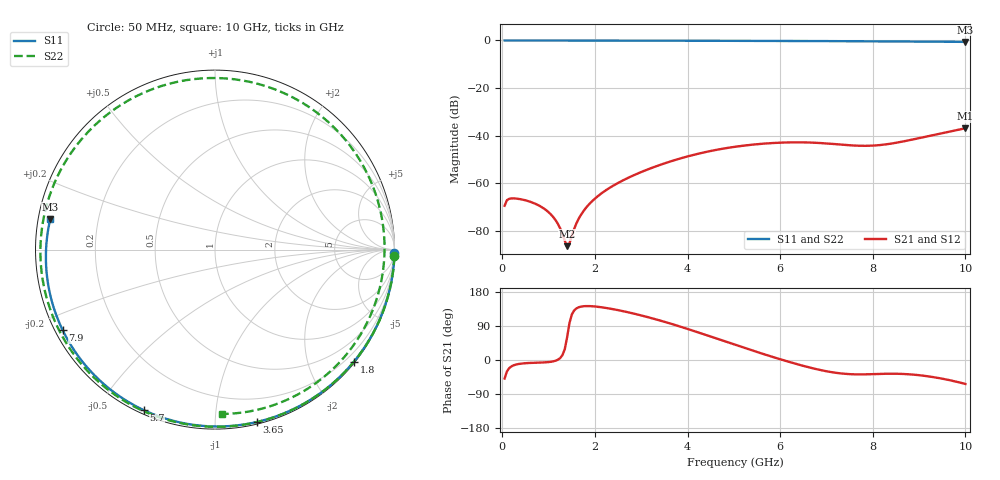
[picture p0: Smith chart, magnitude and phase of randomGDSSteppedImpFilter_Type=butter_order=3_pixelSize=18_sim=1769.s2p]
! freq	dB(S11)	phase(S11)	dB(S12)	phase(S12)
!  dB(S21)	phase(S21)	dB(S22)	phase(S22)
!S-par simulation data
#  GHz  S  DB  R 50
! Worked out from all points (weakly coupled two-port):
!   200 points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, 50 MHz to 10 GHz, reference 50 ohm
!   highest |S21| = -36.96 dB at 10 GHz (marker M1); lowest = -86.5 dB at 1.4 GHz (marker M2)
!   lowest |S11| = -0.6 dB at 10 GHz (marker M3), VSWR 29.06, Z = 1.73 + j4.58 ohm
!   |S11| at or under -10 dB: nowhere
!   |S22| runs from -0.8 to 0.0 dB; largest |S21 - S12| = 0
!   S11 on the Smith chart (normalised r, x): 50 MHz: open; 1.8 GHz: 0.03, -2.83; 3.65 GHz: 0.02, -1.27; 5.7 GHz: 0.02, -0.65; 7.9 GHz: 0.02, -0.25; 10 GHz: 0.03, +0.09
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0.05  -0.00 -1.1  -69.54 -48.9  -69.54 -48.9  -0.00 -2.2
0.2  -0.00 -4.4  -66.45 -16.7  -66.45 -16.7  -0.00 -8.7
0.65  -0.02 -14.3  -68.18 -7.5  -68.18 -7.5  -0.03 -28.0
1  -0.03 -21.9  -72.26 -5.5  -72.26 -5.5  -0.05 -42.7
1.3  -0.04 -28.3  -81.44 13.0  -81.44 13.0  -0.07 -55.2
1.4  -0.04 -30.5  -86.53 60.4  -86.53 60.4  -0.07 -59.3
1.55  -0.04 -33.7  -79.35 130.5  -79.35 130.5  -0.08 -65.5
1.75  -0.05 -37.9  -71.86 141.8  -71.86 141.8  -0.09 -73.6
1.8  -0.05 -38.9  -70.57 142.2  -70.57 142.2  -0.09 -75.6
2.55  -0.07 -54.5  -59.41 130.3  -59.41 130.3  -0.13 -105.3
3.4  -0.09 -71.4  -52.39 104.4  -52.39 104.4  -0.17 -138.5
3.65  -0.10 -76.3  -50.77 95.4  -50.77 95.4  -0.19 -148.3
4.35  -0.13 -89.5  -47.11 67.9  -47.11 67.9  -0.23 -176.5
5.05  -0.16 -102.4  -44.66 39.2  -44.66 39.2  -0.29 153.2
5.7  -0.19 -114.0  -43.33 13.4  -43.33 13.4  -0.34 122.6
6.2  -0.22 -122.7  -42.88 -5.2  -42.88 -5.2  -0.38 97.0
6.7  -0.25 -131.4  -42.98 -21.7  -42.98 -21.7  -0.42 70.1
7.35  -0.30 -142.6  -43.87 -35.9  -43.87 -35.9  -0.45 34.3
7.9  -0.35 -152.1  -44.31 -37.7  -44.31 -37.7  -0.49 4.8
8.35  -0.40 -160.0  -43.53 -36.2  -43.53 -36.2  -0.52 -18.0
9.15  -0.49 -174.4  -40.44 -42.3  -40.44 -42.3  -0.61 -54.4
10  -0.60 169.5  -36.96 -63.2  -36.96 -63.2  -0.76 -87.7
